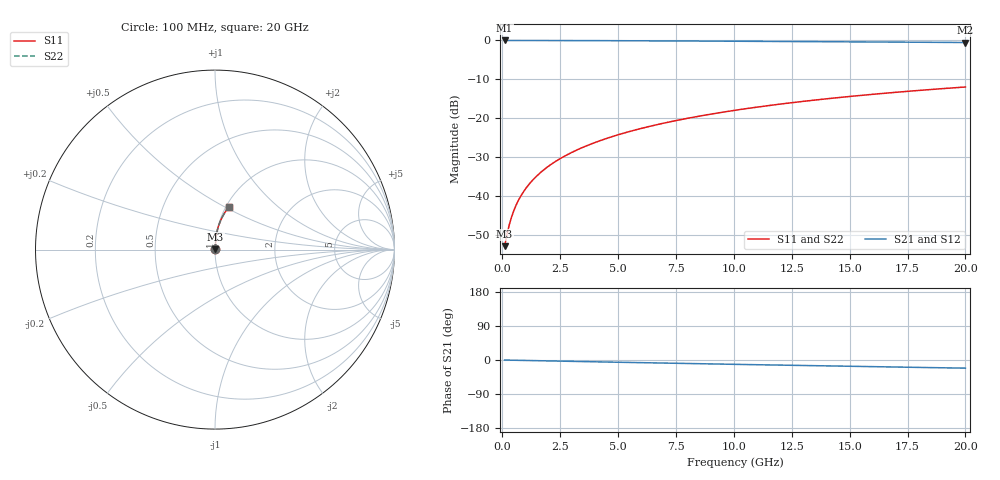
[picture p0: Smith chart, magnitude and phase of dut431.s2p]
! Touchstone file exported from HFSS 2024.1.0
!  File:  C:/UserFiles/LocalFiles/RDL_TSV_Batchsim/temp_RDL_top_431_1779676364.aedt
!  Generated:  10:35:01 AM May 25, 2026
!  Design:  RDL_top
!  Project:  temp_RDL_top_431_1779676364
!  Setup:  Setup1
!  Solution:  Sweep
! Variables:
!  dtsv = 10.80580581um
!  hbump = 3um
!  htsv = 77.7um
!  ldown = 100um
!  lrdl = 252.84um
!  p = 40
!  p1 = 49.14um
!  rhole = 1um
!  t = 450um
!  tdown = 3.915915916um
!  trdl = 3.05um
!  wdown = 15.38538539um
!  wrdl = 17.32um
# GHz S MA R 50.000000
! Terminal data exported
! Port[1] = Box2_T1
! Port[2] = Box2_T2
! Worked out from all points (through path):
!   200 points, 100 MHz to 20 GHz, reference 50 ohm
!   highest |S21| = -0.02 dB at 100 MHz (marker M1); lowest = -0.5 dB at 20 GHz (marker M2)
!   group delay of S21, straight-line fit = 2.97 ps
!   lowest |S11| = -52.8 dB at 100 MHz (marker M3), VSWR 1.00, Z = 50.2 + j0.129 ohm
!   |S11| at or under -10 dB: start of sweep to end of sweep
!   |S22| runs from -52.8 to -11.9 dB; largest |S21 - S12| = 3.4e-15
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0.1  0.002304 34.0  0.9981 -0.1  0.9981 -0.1  0.002304 34.0
! Gamma 0 0 0 0
! Port Impedance 50 0 50 0
0.2  0.00322 52.7  0.998 -0.3  0.998 -0.3  0.00322 52.7
0.3  0.004308 62.2  0.998 -0.4  0.998 -0.4  0.004308 62.2
0.4  0.005448 67.7  0.9979 -0.5  0.9979 -0.5  0.005448 67.7
0.5  0.006605 71.2  0.9978 -0.6  0.9978 -0.6  0.006605 71.2
0.6  0.007769 73.7  0.9977 -0.7  0.9977 -0.7  0.007769 73.7
0.8  0.01011 77.1  0.9976 -1.0  0.9976 -1.0  0.01011 77.1
1.1  0.01365 80.0  0.9974 -1.3  0.9974 -1.3  0.01365 80.0
1.5  0.01842 82.3  0.997 -1.8  0.997 -1.8  0.01842 82.3
1.8  0.02203 83.3  0.9967 -2.2  0.9967 -2.2  0.02203 83.3
2.1  0.02566 84.0  0.9963 -2.5  0.9963 -2.5  0.02566 84.0
2.7  0.03297 84.8  0.9955 -3.2  0.9955 -3.2  0.03297 84.8
3.5  0.04284 85.3  0.9941 -4.2  0.9941 -4.2  0.04284 85.3
4.2  0.05157 85.4  0.9926 -5.0  0.9926 -5.0  0.05157 85.4
5  0.06166 85.3  0.9907 -5.9  0.9907 -5.9  0.06165 85.3
5.9  0.07313 84.9  0.9884 -6.9  0.9884 -6.9  0.07313 84.9
6.8  0.08473 84.4  0.9859 -8.0  0.9859 -8.0  0.08472 84.4
8.4  0.1055 83.3  0.981 -9.7  0.981 -9.7  0.1055 83.3
10.1  0.1278 81.8  0.9755 -11.5  0.9755 -11.5  0.1277 81.8
13.4  0.1706 78.6  0.9641 -15.0  0.9641 -15.0  0.1706 78.6
16.7  0.2125 75.2  0.9521 -18.3  0.9521 -18.3  0.2124 75.2
20  0.2527 71.8  0.9393 -21.5  0.9393 -21.5  0.2527 71.8
